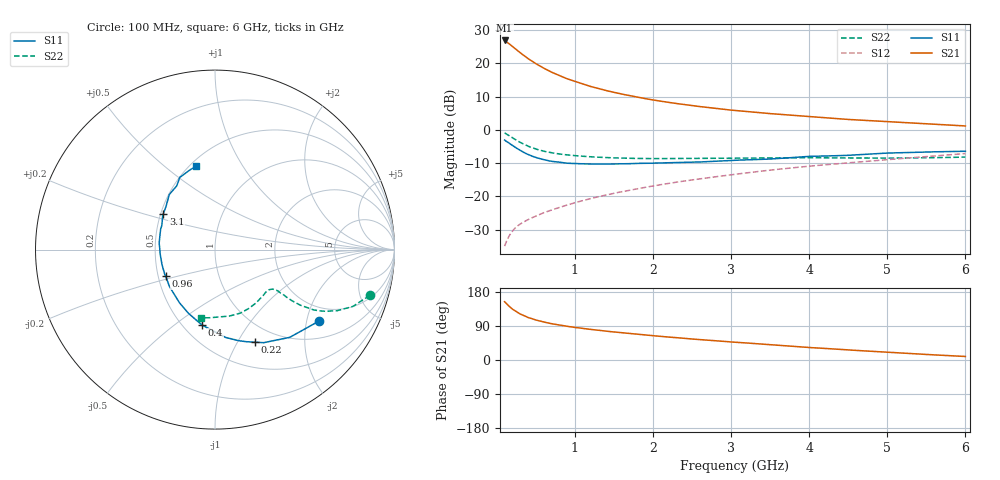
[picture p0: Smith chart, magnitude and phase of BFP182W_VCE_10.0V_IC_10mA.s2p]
! Infineon Technologies  Discrete & RF Semiconductors
! BFP182W
! VCE = 10.0V,  IC =  10 mA
! Common Emitter S-Parameters:  Jan 2016
# GHz  S  MA  R  50
!  f  S11  S21  S12  S22
! GHz  MAG  ANG  MAG  ANG  MAG  ANG  MAG  ANG
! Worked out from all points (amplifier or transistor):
!   192 points, 100 MHz to 6 GHz, reference 50 ohm
!   highest |S21| = 26.9 dB at 100 MHz (marker M1)
!   |S21| within 3 dB of that: start of sweep to 263.6 MHz
!   unconditionally stable (mu >= 1): 1.14 GHz to 2.888 GHz
!   at 440 MHz: K = 0.69, MSG = 23.7 dB, |S12| = -26.6 dB
!   at 1.7 GHz: K = 1.05, MAG = 12.9 dB, |S12| = -18.1 dB
!   at 6 GHz: K = 0.81, MSG = 4.2 dB, |S12| = -7.1 dB
!   S11 on the Smith chart (normalised r, x): 100 MHz: 1.50, -2.37; 220 MHz: 0.79, -1.18; 400 MHz: 0.62, -0.63; 960 MHz: 0.55, -0.18; 3.1 GHz: 0.52, +0.24; 6 GHz: 0.54, +0.65
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0.1  0.7023 -34.6  22.08 153.8  0.0178 73.0  0.8996 -16.5
0.15  0.6421 -49.6  20.05 143.1  0.0246 68.6  0.8308 -22.4
0.2  0.5852 -62.4  18.02 134.2  0.0299 64.4  0.7607 -26.6
0.22  0.5618 -66.7  17.22 131.6  0.0319 63.3  0.7349 -27.7
0.26  0.524 -75.5  15.76 126.1  0.0355 61.5  0.6866 -29.9
0.3  0.493 -83.1  14.42 121.3  0.0383 60.6  0.6459 -31.4
0.4  0.4262 -99.8  11.79 112.1  0.0447 59.6  0.5661 -33.1
0.5  0.3847 -112.6  9.888 105.5  0.0505 59.9  0.5134 -33.6
0.6  0.3566 -123.6  8.473 100.2  0.0566 60.8  0.4768 -33.6
0.7  0.3365 -132.5  7.372 95.8  0.0623 61.8  0.452 -33.3
0.8  0.3268 -140.9  6.549 92.1  0.0679 63.0  0.433 -33.5
0.96  0.3126 -151.7  5.545 87.2  0.0777 64.1  0.4131 -33.5
1.1  0.3081 -159.2  4.911 83.5  0.0862 64.9  0.4006 -33.9
1.2  0.3068 -164.2  4.495 80.7  0.0924 65.3  0.3922 -34.2
1.5  0.3068 -176.0  3.657 73.9  0.111 66.3  0.3787 -36.1
1.8  0.3131 174.1  3.095 67.9  0.1304 67.0  0.371 -38.2
2.08  0.3166 165.8  2.717 62.7  0.1483 66.9  0.3695 -41.2
2.5  0.3245 156.0  2.306 55.4  0.1761 66.3  0.3708 -45.7
3.1  0.3504 145.2  1.932 46.3  0.2179 64.7  0.3752 -54.2
4.1  0.4011 127.9  1.551 31.8  0.2908 60.1  0.3798 -70.2
5.1  0.4501 114.3  1.311 19.2  0.3637 55.0  0.3763 -87.9
6  0.4764 102.7  1.144 9.3  0.4397 49.9  0.3891 -101.9
